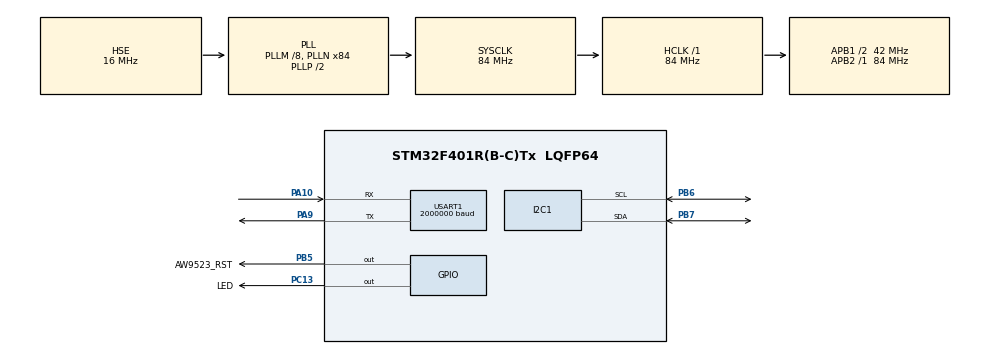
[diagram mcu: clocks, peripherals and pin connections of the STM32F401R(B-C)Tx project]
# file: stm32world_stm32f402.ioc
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I2C1.I2C_Mode=I2C_Fast
Mcu.Family=STM32F4
Mcu.Name=STM32F401R(B-C)Tx
Mcu.Package=LQFP64
NVIC.PriorityGroup=NVIC_PRIORITYGROUP_4
PA10.Mode=Asynchronous
PA10.Signal=USART1_RX
PA13.Mode=Trace_Asynchronous_SW
PA13.Signal=SYS_JTMS-SWDIO
PA14.Mode=Trace_Asynchronous_SW
PA14.Signal=SYS_JTCK-SWCLK
PA9.Mode=Asynchronous
PA9.Signal=USART1_TX
PB3.Mode=Trace_Asynchronous_SW
PB3.Signal=SYS_JTDO-SWO
PB5.GPIO_Label=AW9523_RST
PB5.PinState=GPIO_PIN_SET
PB5.Signal=GPIO_Output
PB6.Mode=I2C
PB6.Signal=I2C1_SCL
PB7.Mode=I2C
PB7.Signal=I2C1_SDA
PC13-ANTI_TAMP.GPIO_Label=LED
PC13-ANTI_TAMP.GPIO_ModeDefaultOutputPP=GPIO_MODE_OUTPUT_OD
PC13-ANTI_TAMP.GPIO_PuPd=GPIO_NOPULL
PC13-ANTI_TAMP.PinState=GPIO_PIN_SET
PC13-ANTI_TAMP.Signal=GPIO_Output
PH0\ -\ OSC_IN.Mode=HSE-External-Oscillator
PH0\ -\ OSC_IN.Signal=RCC_OSC_IN
PH1\ -\ OSC_OUT.Mode=HSE-External-Oscillator
PH1\ -\ OSC_OUT.Signal=RCC_OSC_OUT
ProjectManager.HeapSize=0x200
ProjectManager.StackSize=0x400
ProjectManager.TargetToolchain=STM32CubeIDE
RCC.48MHZClocksFreq_Value=42000000
RCC.AHBFreq_Value=84000000
RCC.APB1CLKDivider=RCC_HCLK_DIV2
RCC.APB1Freq_Value=42000000
RCC.APB1TimFreq_Value=84000000
RCC.APB2Freq_Value=84000000
RCC.APB2TimFreq_Value=84000000
RCC.CortexFreq_Value=84000000
RCC.HCLKFreq_Value=84000000
RCC.HSE_VALUE=16000000
RCC.HSI_VALUE=16000000
RCC.LSE_VALUE=32768
RCC.PLLM=8
RCC.PLLN=84
RCC.PLLSourceVirtual=RCC_PLLSOURCE_HSE
RCC.SYSCLKFreq_VALUE=84000000
RCC.SYSCLKSource=RCC_SYSCLKSOURCE_PLLCLK
RCC.VCOOutputFreq_Value=168000000
USART1.BaudRate=2000000
USART1.OverSampling=UART_OVERSAMPLING_8
USART1.VirtualMode=VM_ASYNC
board=custom

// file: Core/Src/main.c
/* USER CODE BEGIN Header */
/**
 ******************************************************************************
 * @file           : main.c
 * @brief          : Main program body
 ******************************************************************************
 * @attention
 *
 * Copyright (c) 2025 Lars Boegild Thomsen <lbthomsen@gmail.com>
 * All rights reserved.
 *
 * This software is licensed under terms that can be found in the LICENSE file
 * in the root directory of this software component.
 * If no LICENSE file comes with this software, it is provided AS-IS.
 *
 ******************************************************************************
 */
/* USER CODE END Header */
#include "main.h"

/* USER CODE BEGIN Includes */
#include <stdlib.h>
#include <stdio.h>
#include "aw9523.h"
#include "i2c_led.h"
#include "aw9523_led_demos.h"
/* USER CODE END Includes */

/* USER CODE BEGIN PD */
#define AW9523_ADDR AW9523_DEFAULT_ADDR
/* USER CODE END PD */

I2C_HandleTypeDef hi2c1;

UART_HandleTypeDef huart1;

/* USER CODE BEGIN PV */

AW9523_HandleTypeDef aw9523_handle;

//uint32_t tim_cnt;
//uint8_t update_leds;

/* USER CODE END PV */

void SystemClock_Config(void);
static void MX_GPIO_Init(void);
static void MX_I2C1_Init(void);
static void MX_USART1_UART_Init(void);

/* USER CODE BEGIN 0 */

// Send printf to uart1
int _write(int fd, char *ptr, int len) {
    HAL_StatusTypeDef hstatus;

    if (fd == 1 || fd == 2) {
        hstatus = HAL_UART_Transmit(&huart1, (uint8_t*) ptr, len, HAL_MAX_DELAY);
        if (hstatus == HAL_OK)
            return len;
        else
            return -1;
    }
    return -1;
}

/* USER CODE END 0 */

int main(void)
{

  /* MCU Configuration--------------------------------------------------------*/

  /* Reset of all peripherals, Initializes the Flash interface and the Systick. */
  HAL_Init();

  /* Configure the system clock */
  SystemClock_Config();

  /* Initialize all configured peripherals */
  MX_GPIO_Init();
  MX_I2C1_Init();
  MX_USART1_UART_Init();
  /* USER CODE BEGIN 2 */

    printf("\n\n\n\n--------\nStarting\n");

    HAL_Delay(10);

    printf("Scanning i2c bus\n");

    // Go through all possible i2c addresses
    for (uint8_t i = 0; i < 128; i++) {

        if (HAL_I2C_IsDeviceReady(&hi2c1, (uint16_t) (i << 1), 3, 5) == HAL_OK) {
            // We got an ack
            printf("%2x ", i);
        } else {
            printf("-- ");
        }

        if (i > 0 && (i + 1) % 16 == 0)
            printf("\n");

    }

    if (aw9523_init(&aw9523_handle, &hi2c1, AW9523_ADDR, AW9523_RST_GPIO_Port, AW9523_RST_Pin) != AW9523_Ok) {
        printf("Failed\n");
        Error_Handler();
    }

    // Initialize aw9523 in LED drive mode
    aw9523_write_register(&aw9523_handle, AW9523_CTL, 0x02); // set to 0x00, 0x01, 0x02 or 0x03 to limit max current per pin.
    aw9523_write_register(&aw9523_handle, AW9523_LP0, 0x00); // LED drive for P0
    aw9523_write_register(&aw9523_handle, AW9523_LP1, 0x00); // LED drive for P1

    //i2c_set_led(&aw9523_handle, 4, 10, 0, 10);

  /* USER CODE END 2 */

  /* Infinite loop */
  /* USER CODE BEGIN WHILE */

    uint32_t now = 0, next_blink = 500, next_tick = 1000, loop_cnt = 0, next_demo_tick = 0;

    while (1) {

        now = uwTick;

        if (now >= next_blink) {
            HAL_GPIO_TogglePin(LED_GPIO_Port, LED_Pin);
            next_blink = now + 500;
        }

        if (now >= next_tick) {
            printf("Tick %lu (loop=%lu)\n", now / 1000, loop_cnt);
            loop_cnt = 0;
            next_tick = now + 1000;
        }

        if (now >= next_demo_tick) {
            aw9523_led_demo_tick(&aw9523_handle);
            next_demo_tick = now + 10;
        }

        ++loop_cnt;

    /* USER CODE END WHILE */

    }
}

void SystemClock_Config(void)
{
  RCC_OscInitTypeDef RCC_OscInitStruct = {0};
  RCC_ClkInitTypeDef RCC_ClkInitStruct = {0};

  /** Configure the main internal regulator output voltage
  */
  __HAL_RCC_PWR_CLK_ENABLE();
  __HAL_PWR_VOLTAGESCALING_CONFIG(PWR_REGULATOR_VOLTAGE_SCALE2);

  /** Initializes the RCC Oscillators according to the specified parameters
  * in the RCC_OscInitTypeDef structure.
  */
  RCC_OscInitStruct.OscillatorType = RCC_OSCILLATORTYPE_HSE;
  RCC_OscInitStruct.HSEState = RCC_HSE_ON;
  RCC_OscInitStruct.PLL.PLLState = RCC_PLL_ON;
  RCC_OscInitStruct.PLL.PLLSource = RCC_PLLSOURCE_HSE;
  RCC_OscInitStruct.PLL.PLLM = 8;
  RCC_OscInitStruct.PLL.PLLN = 84;
  RCC_OscInitStruct.PLL.PLLP = RCC_PLLP_DIV2;
  RCC_OscInitStruct.PLL.PLLQ = 4;
  if (HAL_RCC_OscConfig(&RCC_OscInitStruct) != HAL_OK)
  {
    Error_Handler();
  }

  /** Initializes the CPU, AHB and APB buses clocks
  */
  RCC_ClkInitStruct.ClockType = RCC_CLOCKTYPE_HCLK|RCC_CLOCKTYPE_SYSCLK
                              |RCC_CLOCKTYPE_PCLK1|RCC_CLOCKTYPE_PCLK2;
  RCC_ClkInitStruct.SYSCLKSource = RCC_SYSCLKSOURCE_PLLCLK;
  RCC_ClkInitStruct.AHBCLKDivider = RCC_SYSCLK_DIV1;
  RCC_ClkInitStruct.APB1CLKDivider = RCC_HCLK_DIV2;
  RCC_ClkInitStruct.APB2CLKDivider = RCC_HCLK_DIV1;

  if (HAL_RCC_ClockConfig(&RCC_ClkInitStruct, FLASH_LATENCY_2) != HAL_OK)
  {
    Error_Handler();
  }
}

static void MX_I2C1_Init(void)
{

  hi2c1.Instance = I2C1;
  hi2c1.Init.ClockSpeed = 400000;
  hi2c1.Init.DutyCycle = I2C_DUTYCYCLE_2;
  hi2c1.Init.OwnAddress1 = 0;
  hi2c1.Init.AddressingMode = I2C_ADDRESSINGMODE_7BIT;
  hi2c1.Init.DualAddressMode = I2C_DUALADDRESS_DISABLE;
  hi2c1.Init.OwnAddress2 = 0;
  hi2c1.Init.GeneralCallMode = I2C_GENERALCALL_DISABLE;
  hi2c1.Init.NoStretchMode = I2C_NOSTRETCH_DISABLE;
  if (HAL_I2C_Init(&hi2c1) != HAL_OK)
  {
    Error_Handler();
  }

}

static void MX_USART1_UART_Init(void)
{

  huart1.Instance = USART1;
  huart1.Init.BaudRate = 2000000;
  huart1.Init.WordLength = UART_WORDLENGTH_8B;
  huart1.Init.StopBits = UART_STOPBITS_1;
  huart1.Init.Parity = UART_PARITY_NONE;
  huart1.Init.Mode = UART_MODE_TX_RX;
  huart1.Init.HwFlowCtl = UART_HWCONTROL_NONE;
  huart1.Init.OverSampling = UART_OVERSAMPLING_8;
  if (HAL_UART_Init(&huart1) != HAL_OK)
  {
    Error_Handler();
  }

}

static void MX_GPIO_Init(void)
{
  GPIO_InitTypeDef GPIO_InitStruct = {0};

  /* GPIO Ports Clock Enable */
  __HAL_RCC_GPIOC_CLK_ENABLE();
  __HAL_RCC_GPIOH_CLK_ENABLE();
  __HAL_RCC_GPIOA_CLK_ENABLE();
  __HAL_RCC_GPIOB_CLK_ENABLE();

  /*Configure GPIO pin Output Level */
  HAL_GPIO_WritePin(LED_GPIO_Port, LED_Pin, GPIO_PIN_SET);

  /*Configure GPIO pin Output Level */
  HAL_GPIO_WritePin(AW9523_RST_GPIO_Port, AW9523_RST_Pin, GPIO_PIN_SET);

  /*Configure GPIO pin : LED_Pin */
  GPIO_InitStruct.Pin = LED_Pin;
  GPIO_InitStruct.Mode = GPIO_MODE_OUTPUT_OD;
  GPIO_InitStruct.Pull = GPIO_NOPULL;
  GPIO_InitStruct.Speed = GPIO_SPEED_FREQ_LOW;
  HAL_GPIO_Init(LED_GPIO_Port, &GPIO_InitStruct);

  /*Configure GPIO pin : AW9523_RST_Pin */
  GPIO_InitStruct.Pin = AW9523_RST_Pin;
  GPIO_InitStruct.Mode = GPIO_MODE_OUTPUT_PP;
  GPIO_InitStruct.Pull = GPIO_NOPULL;
  GPIO_InitStruct.Speed = GPIO_SPEED_FREQ_LOW;
  HAL_GPIO_Init(AW9523_RST_GPIO_Port, &GPIO_InitStruct);

}

void Error_Handler(void)
{
    __disable_irq();
    while (1) {
    }
}
